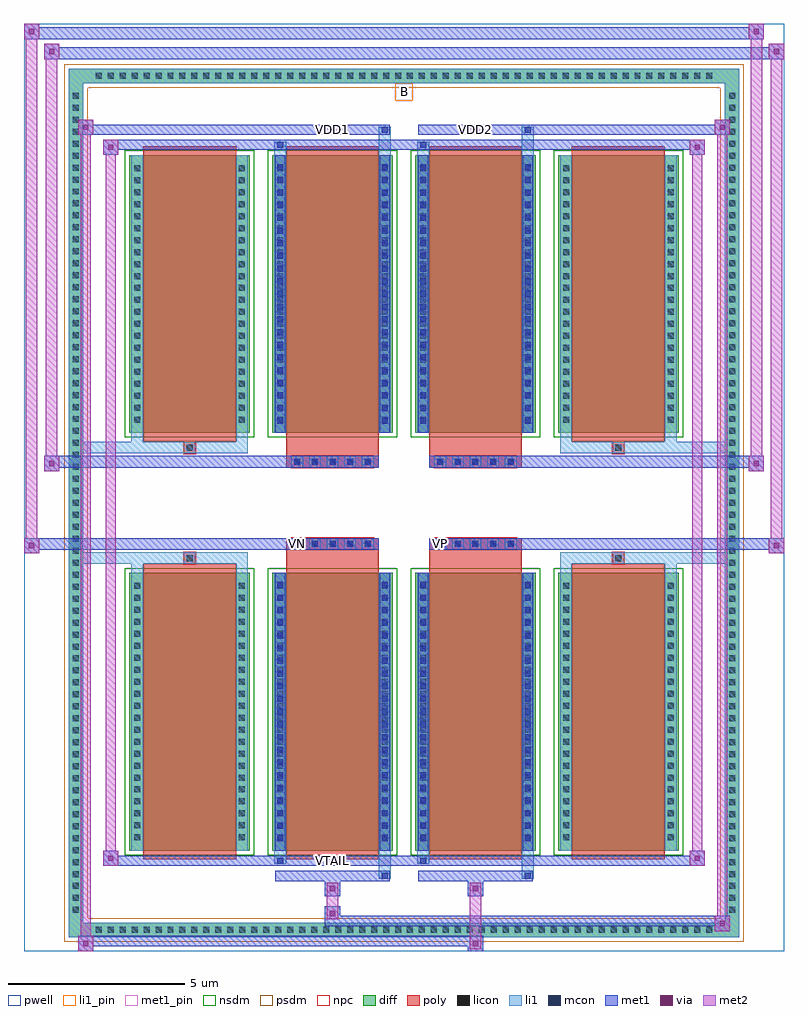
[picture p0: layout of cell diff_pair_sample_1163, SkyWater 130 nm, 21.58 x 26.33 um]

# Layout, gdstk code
import gdstk
lib = gdstk.Library(unit=1e-6, precision=5e-09)
def R(c, l, rs):  # rectangles x0, y0, x1, y1
    for r in rs: c.add(gdstk.rectangle(r[:2], r[2:], *l))
def A(c, l, x, y, w, h, nx, ny, dx, dy):  # array of equal rectangles
    R(c, l, [(x+i*dx, y+j*dy, x+i*dx+w, y+j*dy+h) for i in range(nx) for j in range(ny)])
def P(c, l, *ps):  # polygons
    for p in ps: c.add(gdstk.Polygon(p, *l))
pwell = (64, 44)
diff = (65, 20)
poly = (66, 20)
licon = (66, 44)
li1_pin = (67, 16)
li1 = (67, 20)
mcon = (67, 44)
met1_pin = (68, 16)
met1 = (68, 20)
via = (68, 44)
met2 = (69, 20)
nsdm = (93, 44)
psdm = (94, 20)
npc = (95, 20)

diff_pair_sample_1163 = lib.new_cell('diff_pair_sample_1163')
R(diff_pair_sample_1163, pwell, [(-10.79,-12.73,10.79,13.6), (-8.11,-10.92,-0.01,-0.8), (0.01,-10.92,8.11,-0.8), (-8.11,0.8,-0.01,10.92), (0.01,0.8,8.11,10.92)])
A(diff_pair_sample_1163, diff, -8.875, -12.33, 0.41, 0.41, 52, 2, 0.34, 24.25)
A(diff_pair_sample_1163, diff, -9.52, -11.765, 0.41, 0.41, 1, 69, 0, 0.34)
A(diff_pair_sample_1163, diff, 9.11, -11.765, 0.41, 0.41, 1, 69, 0, 0.34)
A(diff_pair_sample_1163, diff, -7.8, -9.875, 3.42, 7.89, 4, 2, 4.06, 11.86)
R(diff_pair_sample_1163, diff, [(-8.875,-12.33,8.875,-11.92), (-9.52,-11.765,-9.11,11.765), (9.11,-11.765,9.52,11.765), (-8.875,11.92,8.875,12.33)])
P(diff_pair_sample_1163, diff, [(9.52,12.33),(-9.52,12.33),(-9.52,-11.92),(-9.11,-11.92),(-9.11,11.92),(9.11,11.92),(9.11,-11.92),(-9.11,-11.92),(-9.52,-11.92),(-9.52,-12.33),(9.52,-12.33)])
A(diff_pair_sample_1163, poly, -7.41, -10.125, 2.64, 8.39, 4, 2, 4.06, 11.86)
A(diff_pair_sample_1163, poly, -3.195, -1.33, 0.33, 0.33, 5, 2, 0.5, 2.33)
A(diff_pair_sample_1163, poly, 0.865, -1.33, 0.33, 0.33, 5, 2, 0.5, 2.33)
R(diff_pair_sample_1163, poly, [(-6.255,-1.735,-5.925,-1.405), (-6.255,-1.735,-5.925,-1.405), (-3.35,-1.735,-0.71,-1.33), (0.71,-1.735,3.35,-1.33), (5.925,-1.735,6.255,-1.405), (5.925,-1.735,6.255,-1.405), (-3.35,-1.33,-0.71,-1), (0.71,-1.33,3.35,-1), (-3.35,1,-0.71,1.33), (0.71,1,3.35,1.33), (-3.35,1.33,-0.71,1.735), (0.71,1.33,3.35,1.735), (-6.255,1.405,-5.925,1.735), (-6.255,1.405,-5.925,1.735), (5.925,1.405,6.255,1.735), (5.925,1.405,6.255,1.735)])
A(diff_pair_sample_1163, licon, -8.755, -12.21, 0.17, 0.17, 52, 2, 0.34, 24.25)
A(diff_pair_sample_1163, licon, -9.4, -11.645, 0.17, 0.17, 1, 69, 0, 0.34)
A(diff_pair_sample_1163, licon, 9.23, -11.645, 0.17, 0.17, 1, 69, 0, 0.34)
A(diff_pair_sample_1163, licon, -7.66, -9.585, 0.17, 0.17, 1, 22, 0, 0.34)
A(diff_pair_sample_1163, licon, -4.69, -9.585, 0.17, 0.17, 1, 22, 0, 0.34)
A(diff_pair_sample_1163, licon, -3.6, -9.585, 0.17, 0.17, 1, 22, 0, 0.34)
A(diff_pair_sample_1163, licon, -0.63, -9.585, 0.17, 0.17, 1, 22, 0, 0.34)
A(diff_pair_sample_1163, licon, 0.46, -9.585, 0.17, 0.17, 1, 22, 0, 0.34)
A(diff_pair_sample_1163, licon, 3.43, -9.585, 0.17, 0.17, 1, 22, 0, 0.34)
A(diff_pair_sample_1163, licon, 4.52, -9.585, 0.17, 0.17, 1, 22, 0, 0.34)
A(diff_pair_sample_1163, licon, 7.49, -9.585, 0.17, 0.17, 1, 22, 0, 0.34)
A(diff_pair_sample_1163, licon, -3.115, -1.25, 0.17, 0.17, 5, 2, 0.5, 2.33)
A(diff_pair_sample_1163, licon, 0.945, -1.25, 0.17, 0.17, 5, 2, 0.5, 2.33)
A(diff_pair_sample_1163, licon, -7.66, 2.275, 0.17, 0.17, 1, 22, 0, 0.34)
A(diff_pair_sample_1163, licon, -4.69, 2.275, 0.17, 0.17, 1, 22, 0, 0.34)
A(diff_pair_sample_1163, licon, -3.6, 2.275, 0.17, 0.17, 1, 22, 0, 0.34)
A(diff_pair_sample_1163, licon, -0.63, 2.275, 0.17, 0.17, 1, 22, 0, 0.34)
A(diff_pair_sample_1163, licon, 0.46, 2.275, 0.17, 0.17, 1, 22, 0, 0.34)
A(diff_pair_sample_1163, licon, 3.43, 2.275, 0.17, 0.17, 1, 22, 0, 0.34)
A(diff_pair_sample_1163, licon, 4.52, 2.275, 0.17, 0.17, 1, 22, 0, 0.34)
A(diff_pair_sample_1163, licon, 7.49, 2.275, 0.17, 0.17, 1, 22, 0, 0.34)
R(diff_pair_sample_1163, licon, [(-6.175,-1.655,-6.005,-1.485), (6.005,-1.655,6.175,-1.485), (-6.175,1.485,-6.005,1.655), (6.005,1.485,6.175,1.655)])
R(diff_pair_sample_1163, li1_pin, [(-0.25,11.42,0.25,11.92)])
A(diff_pair_sample_1163, li1, -8.835, -12.29, 0.33, 0.33, 52, 2, 0.34, 24.25)
A(diff_pair_sample_1163, li1, -9.48, -11.725, 0.33, 0.33, 1, 69, 0, 0.34)
A(diff_pair_sample_1163, li1, 9.15, -11.725, 0.33, 0.33, 1, 69, 0, 0.34)
A(diff_pair_sample_1163, li1, -7.74, -9.665, 0.33, 0.33, 1, 22, 0, 0.34)
A(diff_pair_sample_1163, li1, -4.77, -9.665, 0.33, 0.33, 1, 22, 0, 0.34)
A(diff_pair_sample_1163, li1, -3.68, -9.665, 0.33, 0.33, 1, 22, 0, 0.34)
A(diff_pair_sample_1163, li1, -0.71, -9.665, 0.33, 0.33, 1, 22, 0, 0.34)
A(diff_pair_sample_1163, li1, 0.38, -9.665, 0.33, 0.33, 1, 22, 0, 0.34)
A(diff_pair_sample_1163, li1, 3.35, -9.665, 0.33, 0.33, 1, 22, 0, 0.34)
A(diff_pair_sample_1163, li1, 4.44, -9.665, 0.33, 0.33, 1, 22, 0, 0.34)
A(diff_pair_sample_1163, li1, 7.41, -9.665, 0.33, 0.33, 1, 22, 0, 0.34)
A(diff_pair_sample_1163, li1, -3.6, -9.615, 0.17, 0.17, 1, 21, 0, 0.36)
A(diff_pair_sample_1163, li1, -0.63, -9.615, 0.17, 0.17, 1, 21, 0, 0.36)
A(diff_pair_sample_1163, li1, 0.46, -9.615, 0.17, 0.17, 1, 21, 0, 0.36)
A(diff_pair_sample_1163, li1, 3.43, -9.615, 0.17, 0.17, 1, 21, 0, 0.36)
A(diff_pair_sample_1163, li1, -3.195, -1.33, 0.33, 0.33, 5, 2, 0.5, 2.33)
A(diff_pair_sample_1163, li1, 0.865, -1.33, 0.33, 0.33, 5, 2, 0.5, 2.33)
A(diff_pair_sample_1163, li1, -7.74, 2.195, 0.33, 0.33, 1, 22, 0, 0.34)
A(diff_pair_sample_1163, li1, -4.77, 2.195, 0.33, 0.33, 1, 22, 0, 0.34)
A(diff_pair_sample_1163, li1, -3.68, 2.195, 0.33, 0.33, 1, 22, 0, 0.34)
A(diff_pair_sample_1163, li1, -0.71, 2.195, 0.33, 0.33, 1, 22, 0, 0.34)
A(diff_pair_sample_1163, li1, 0.38, 2.195, 0.33, 0.33, 1, 22, 0, 0.34)
A(diff_pair_sample_1163, li1, 3.35, 2.195, 0.33, 0.33, 1, 22, 0, 0.34)
A(diff_pair_sample_1163, li1, 4.44, 2.195, 0.33, 0.33, 1, 22, 0, 0.34)
A(diff_pair_sample_1163, li1, 7.41, 2.195, 0.33, 0.33, 1, 22, 0, 0.34)
A(diff_pair_sample_1163, li1, -3.6, 2.245, 0.17, 0.17, 1, 21, 0, 0.36)
A(diff_pair_sample_1163, li1, -0.63, 2.245, 0.17, 0.17, 1, 21, 0, 0.36)
A(diff_pair_sample_1163, li1, 0.46, 2.245, 0.17, 0.17, 1, 21, 0, 0.36)
A(diff_pair_sample_1163, li1, 3.43, 2.245, 0.17, 0.17, 1, 21, 0, 0.36)
R(diff_pair_sample_1163, li1, [(-9.52,-12.33,-9.11,-11.92), (-9.52,-12.33,-9.11,-11.92), (-9.11,-12.33,9.11,-11.92), (9.11,-12.33,9.52,-11.92), (9.11,-12.33,9.52,-11.92), (-9.52,-11.92,-9.11,11.92), (9.11,-11.92,9.52,11.92), (-0.71,-10.68,-0.38,-9.875), (-0.63,-10.68,-0.46,-10.51), (3.35,-10.68,3.68,-9.875), (3.43,-10.68,3.6,-10.51), (-3.68,-10.25,-3.35,-9.875), (-3.6,-10.25,-3.43,-10.08), (0.38,-10.25,0.71,-9.875), (0.46,-10.25,0.63,-10.08), (-7.74,-9.875,-7.41,-1.985), (-4.77,-9.875,-4.44,-1.985), (-3.68,-9.875,-3.35,-1.985), (-0.71,-9.875,-0.38,-1.985), (0.38,-9.875,0.71,-1.985), (3.35,-9.875,3.68,-1.985), (4.44,-9.875,4.77,-1.985), (7.41,-9.875,7.74,-1.985), (-3.6,-9.615,-3.43,-2.245), (-0.63,-9.615,-0.46,-2.245), (0.46,-9.615,0.63,-2.245), (3.43,-9.615,3.6,-2.245), (-7.74,-1.985,-7.41,-1.405), (-4.77,-1.985,-4.44,-1.405), (4.44,-1.985,4.77,-1.405), (7.41,-1.985,7.74,-1.405), (-9.52,-1.735,-6.255,-1.405), (-7.74,-1.735,-6.255,-1.405), (-6.255,-1.735,-5.925,-1.405), (-5.925,-1.735,-4.44,-1.405), (4.44,-1.735,5.925,-1.405), (5.925,-1.735,6.255,-1.405), (5.925,-1.735,9.52,-1.405), (6.255,-1.735,7.74,-1.405), (-9.52,1.405,-6.255,1.735), (-7.74,1.405,-6.255,1.735), (-7.74,1.405,-7.41,1.985), (-6.255,1.405,-5.925,1.735), (-5.925,1.405,-4.44,1.735), (-4.77,1.405,-4.44,1.985), (4.44,1.405,5.925,1.735), (4.44,1.405,4.77,1.985), (5.925,1.405,6.255,1.735), (5.925,1.405,9.52,1.735), (6.255,1.405,7.74,1.735), (7.41,1.405,7.74,1.985), (-7.74,1.985,-7.41,9.875), (-4.77,1.985,-4.44,9.875), (-3.68,1.985,-3.35,9.875), (-0.71,1.985,-0.38,9.875), (0.38,1.985,0.71,9.875), (3.35,1.985,3.68,9.875), (4.44,1.985,4.77,9.875), (7.41,1.985,7.74,9.875), (-3.6,2.245,-3.43,9.615), (-0.63,2.245,-0.46,9.615), (0.46,2.245,0.63,9.615), (3.43,2.245,3.6,9.615), (-3.68,9.875,-3.35,10.25), (-0.71,9.875,-0.38,10.68), (0.38,9.875,0.71,10.25), (3.35,9.875,3.68,10.68), (-3.6,10.08,-3.43,10.25), (0.46,10.08,0.63,10.25), (-0.63,10.51,-0.46,10.68), (3.43,10.51,3.6,10.68), (-9.52,11.92,-9.11,12.33), (-9.52,11.92,-9.11,12.33), (-9.11,11.92,9.11,12.33), (9.11,11.92,9.52,12.33), (9.11,11.92,9.52,12.33)])
A(diff_pair_sample_1163, mcon, -3.6, -9.615, 0.17, 0.17, 1, 21, 0, 0.36)
A(diff_pair_sample_1163, mcon, -0.63, -9.615, 0.17, 0.17, 1, 21, 0, 0.36)
A(diff_pair_sample_1163, mcon, 0.46, -9.615, 0.17, 0.17, 1, 21, 0, 0.36)
A(diff_pair_sample_1163, mcon, 3.43, -9.615, 0.17, 0.17, 1, 21, 0, 0.36)
A(diff_pair_sample_1163, mcon, -3.115, -1.25, 0.17, 0.17, 5, 2, 0.5, 2.33)
A(diff_pair_sample_1163, mcon, 0.945, -1.25, 0.17, 0.17, 5, 2, 0.5, 2.33)
A(diff_pair_sample_1163, mcon, -3.6, 2.245, 0.17, 0.17, 1, 21, 0, 0.36)
A(diff_pair_sample_1163, mcon, -0.63, 2.245, 0.17, 0.17, 1, 21, 0, 0.36)
A(diff_pair_sample_1163, mcon, 0.46, 2.245, 0.17, 0.17, 1, 21, 0, 0.36)
A(diff_pair_sample_1163, mcon, 3.43, 2.245, 0.17, 0.17, 1, 21, 0, 0.36)
R(diff_pair_sample_1163, mcon, [(-0.63,-10.68,-0.46,-10.51), (3.43,-10.68,3.6,-10.51), (-3.6,-10.25,-3.43,-10.08), (0.46,-10.25,0.63,-10.08), (-3.6,10.08,-3.43,10.25), (0.46,10.08,0.63,10.25), (-0.63,10.51,-0.46,10.68), (3.43,10.51,3.6,10.68)])
R(diff_pair_sample_1163, met1_pin, [(-2.165,-10.29,-1.895,-10.02), (-3.165,-1.29,-2.895,-1.02), (0.895,-1.29,1.165,-1.02), (-2.165,10.47,-1.895,10.74), (1.895,10.47,2.165,10.74)])
A(diff_pair_sample_1163, met1, -3.66, -9.675, 0.29, 0.29, 1, 21, 0, 0.36)
A(diff_pair_sample_1163, met1, -0.69, -9.675, 0.29, 0.29, 1, 21, 0, 0.36)
A(diff_pair_sample_1163, met1, 0.4, -9.675, 0.29, 0.29, 1, 21, 0, 0.36)
A(diff_pair_sample_1163, met1, 3.37, -9.675, 0.29, 0.29, 1, 21, 0, 0.36)
A(diff_pair_sample_1163, met1, -3.175, -1.31, 0.29, 0.29, 5, 2, 0.5, 2.33)
A(diff_pair_sample_1163, met1, 0.885, -1.31, 0.29, 0.29, 5, 2, 0.5, 2.33)
A(diff_pair_sample_1163, met1, -3.66, 2.185, 0.29, 0.29, 1, 21, 0, 0.36)
A(diff_pair_sample_1163, met1, -0.69, 2.185, 0.29, 0.29, 1, 21, 0, 0.36)
A(diff_pair_sample_1163, met1, 0.4, 2.185, 0.29, 0.29, 1, 21, 0, 0.36)
A(diff_pair_sample_1163, met1, 3.37, 2.185, 0.29, 0.29, 1, 21, 0, 0.36)
R(diff_pair_sample_1163, met1, [(-9.25,-12.73,-8.82,-12.3), (1.815,-12.73,2.245,-12.3), (-9.25,-12.59,2.245,-12.3), (8.82,-12.16,9.25,-11.73), (-2.245,-12.02,9.25,-11.73), (-2.245,-11.88,-1.815,-11.45), (-2.245,-11.17,-1.815,-10.74), (1.815,-11.17,2.245,-10.74), (-3.66,-10.74,-0.4,-10.45), (-0.69,-10.74,-0.4,-10.45), (0.4,-10.74,3.66,-10.45), (3.37,-10.74,3.66,-10.45), (-8.54,-10.31,-8.11,-9.88), (-8.54,-10.31,-3.66,-10.02), (-3.66,-10.31,-3.37,-10.02), (-3.66,-10.31,-0.4,-10.02), (-0.4,-10.31,0.4,-10.02), (0.4,-10.31,0.69,-10.02), (0.4,-10.31,3.66,-10.02), (3.66,-10.31,8.54,-10.02), (8.11,-10.31,8.54,-9.88), (-3.66,-9.875,-3.37,-1.985), (-0.69,-9.875,-0.4,-1.985), (0.4,-9.875,0.69,-1.985), (3.37,-9.875,3.66,-1.985), (-10.79,-1.43,-10.36,-1), (10.36,-1.43,10.79,-1), (-10.79,-1.33,-0.71,-1), (-3.35,-1.33,-0.71,-1), (0.71,-1.33,3.35,-1), (0.71,-1.33,10.79,-1), (-10.22,0.9,-9.79,1.33), (9.79,0.9,10.22,1.33), (-10.22,1,-3.35,1.33), (-3.35,1,-0.71,1.33), (0.71,1,3.35,1.33), (3.35,1,10.22,1.33), (-3.66,1.985,-3.37,9.875), (-0.69,1.985,-0.4,9.875), (0.4,1.985,0.69,9.875), (3.37,1.985,3.66,9.875), (-8.54,9.88,-8.11,10.31), (8.11,9.88,8.54,10.31), (-8.54,10.02,-3.66,10.31), (-3.66,10.02,-3.37,10.31), (-3.66,10.02,-0.4,10.31), (-0.4,10.02,0.4,10.31), (0.4,10.02,0.69,10.31), (0.4,10.02,3.66,10.31), (3.66,10.02,8.54,10.31), (-9.25,10.45,-8.82,10.88), (-9.25,10.45,-3.66,10.74), (-3.66,10.45,-0.4,10.74), (-0.69,10.45,-0.4,10.74), (0.4,10.45,3.66,10.74), (3.37,10.45,3.66,10.74), (3.66,10.45,9.25,10.74), (8.82,10.45,9.25,10.88), (-10.22,12.6,-9.79,13.03), (-10.22,12.6,-8.11,12.93), (-8.11,12.6,8.11,12.93), (8.11,12.6,10.79,12.93), (10.36,12.6,10.79,13.03), (-10.79,13.17,-10.36,13.6), (-10.79,13.17,-8.11,13.5), (-8.11,13.17,8.11,13.5), (8.11,13.17,10.22,13.5), (9.79,13.17,10.22,13.6)])
R(diff_pair_sample_1163, via, [(-9.11,-12.59,-8.96,-12.44), (1.955,-12.59,2.105,-12.44), (8.96,-12.02,9.11,-11.87), (-2.105,-11.74,-1.955,-11.59), (-2.105,-11.03,-1.955,-10.88), (1.955,-11.03,2.105,-10.88), (-8.4,-10.17,-8.25,-10.02), (8.25,-10.17,8.4,-10.02), (-10.65,-1.29,-10.5,-1.14), (10.5,-1.29,10.65,-1.14), (-10.08,1.04,-9.93,1.19), (9.93,1.04,10.08,1.19), (-8.4,10.02,-8.25,10.17), (8.25,10.02,8.4,10.17), (-9.11,10.59,-8.96,10.74), (8.96,10.59,9.11,10.74), (-10.08,12.74,-9.93,12.89), (10.5,12.74,10.65,12.89), (-10.65,13.31,-10.5,13.46), (9.93,13.31,10.08,13.46)])
R(diff_pair_sample_1163, met2, [(-9.25,-12.73,-8.82,-12.3), (-9.18,-12.73,-8.89,10.88), (-8.89,-12.73,-8.82,-12.3), (-9.2,-12.68,-8.87,-12.35), (1.865,-12.68,2.195,-12.35), (1.865,-12.35,2.195,-11.12), (8.82,-12.16,9.25,-11.73), (8.89,-12.16,9.18,10.88), (9.18,-12.16,9.25,-11.73), (8.87,-12.11,9.2,-11.78), (-2.195,-11.83,-1.865,-11.5), (-2.195,-11.5,-1.865,-11.12), (-2.195,-11.12,-1.865,-10.79), (1.865,-11.12,2.195,-10.79), (-8.54,-10.31,-8.11,-9.88), (-8.47,-10.31,-8.18,10.31), (-8.18,-10.31,-8.11,-9.88), (8.11,-10.31,8.54,-9.88), (8.18,-10.31,8.47,10.31), (8.47,-10.31,8.54,-9.88), (-8.49,-10.26,-8.16,-9.93), (8.16,-10.26,8.49,-9.93), (-10.79,-1.43,-10.36,-1), (-10.74,-1.43,-10.41,13.6), (-10.41,-1.43,-10.36,-1), (10.36,-1.43,10.79,-1), (10.41,-1.43,10.74,13.03), (10.74,-1.43,10.79,-1), (-10.74,-1.38,-10.41,-1.05), (10.41,-1.38,10.74,-1.05), (-10.22,0.9,-9.79,1.33), (-10.17,0.9,-9.84,13.03), (-9.84,0.9,-9.79,1.33), (9.79,0.9,10.22,1.33), (9.84,0.9,10.17,13.6), (10.17,0.9,10.22,1.33), (-10.17,0.95,-9.84,1.28), (9.84,0.95,10.17,1.28), (-8.54,9.88,-8.11,10.31), (-8.18,9.88,-8.11,10.31), (8.11,9.88,8.54,10.31), (8.47,9.88,8.54,10.31), (-8.49,9.93,-8.16,10.26), (8.16,9.93,8.49,10.26), (-9.25,10.45,-8.82,10.88), (-8.89,10.45,-8.82,10.88), (8.82,10.45,9.25,10.88), (9.18,10.45,9.25,10.88), (-9.2,10.5,-8.87,10.83), (8.87,10.5,9.2,10.83), (-10.22,12.6,-9.79,13.03), (-9.84,12.6,-9.79,13.03), (10.36,12.6,10.79,13.03), (10.74,12.6,10.79,13.03), (-10.17,12.65,-9.84,12.98), (10.41,12.65,10.74,12.98), (-10.79,13.17,-10.36,13.6), (-10.41,13.17,-10.36,13.6), (9.79,13.17,10.22,13.6), (10.17,13.17,10.22,13.6), (-10.74,13.22,-10.41,13.55), (9.84,13.22,10.17,13.55)])
A(diff_pair_sample_1163, nsdm, -7.93, -10.005, 3.68, 8.15, 4, 2, 4.06, 11.86)
P(diff_pair_sample_1163, psdm, [(9.65,12.46),(-9.65,12.46),(-9.65,-11.79),(-8.98,-11.79),(-8.98,11.79),(8.98,11.79),(8.98,-11.79),(-8.98,-11.79),(-9.65,-11.79),(-9.65,-12.46),(9.65,-12.46)])
A(diff_pair_sample_1163, npc, -3.215, -1.35, 0.37, 0.37, 5, 2, 0.5, 2.33)
A(diff_pair_sample_1163, npc, 0.845, -1.35, 0.37, 0.37, 5, 2, 0.5, 2.33)
R(diff_pair_sample_1163, npc, [(-6.275,-1.755,-5.905,-1.385), (5.905,-1.755,6.275,-1.385), (-3.215,-1.35,-2.345,-0.98), (-3.215,-1.35,-2.345,-0.98), (-2.715,-1.35,-1.845,-0.98), (-2.715,-1.35,-1.845,-0.98), (-2.215,-1.35,-1.345,-0.98), (-2.215,-1.35,-1.345,-0.98), (-1.715,-1.35,-0.845,-0.98), (-1.715,-1.35,-0.845,-0.98), (0.845,-1.35,1.715,-0.98), (0.845,-1.35,1.715,-0.98), (1.345,-1.35,2.215,-0.98), (1.345,-1.35,2.215,-0.98), (1.845,-1.35,2.715,-0.98), (1.845,-1.35,2.715,-0.98), (2.345,-1.35,3.215,-0.98), (2.345,-1.35,3.215,-0.98), (-3.215,0.98,-2.345,1.35), (-3.215,0.98,-2.345,1.35), (-2.715,0.98,-1.845,1.35), (-2.715,0.98,-1.845,1.35), (-2.215,0.98,-1.345,1.35), (-2.215,0.98,-1.345,1.35), (-1.715,0.98,-0.845,1.35), (-1.715,0.98,-0.845,1.35), (0.845,0.98,1.715,1.35), (0.845,0.98,1.715,1.35), (1.345,0.98,2.215,1.35), (1.345,0.98,2.215,1.35), (1.845,0.98,2.715,1.35), (1.845,0.98,2.715,1.35), (2.345,0.98,3.215,1.35), (2.345,0.98,3.215,1.35), (-6.275,1.385,-5.905,1.755), (5.905,1.385,6.275,1.755)])
diff_pair_sample_1163.add(gdstk.Label('VTAIL', (-2.03,-10.155), layer=68, texttype=5))
diff_pair_sample_1163.add(gdstk.Label('VN', (-3.03,-1.155), layer=68, texttype=5))
diff_pair_sample_1163.add(gdstk.Label('VP', (1.03,-1.155), layer=68, texttype=5))
diff_pair_sample_1163.add(gdstk.Label('B', (0,11.67), layer=67, texttype=5))
diff_pair_sample_1163.add(gdstk.Label('VDD2', (2.03,10.605), layer=68, texttype=5))
diff_pair_sample_1163.add(gdstk.Label('VDD1', (-2.03,10.605), layer=68, texttype=5))

lib.write_gds('diff_pair_sample_1163.gds')
